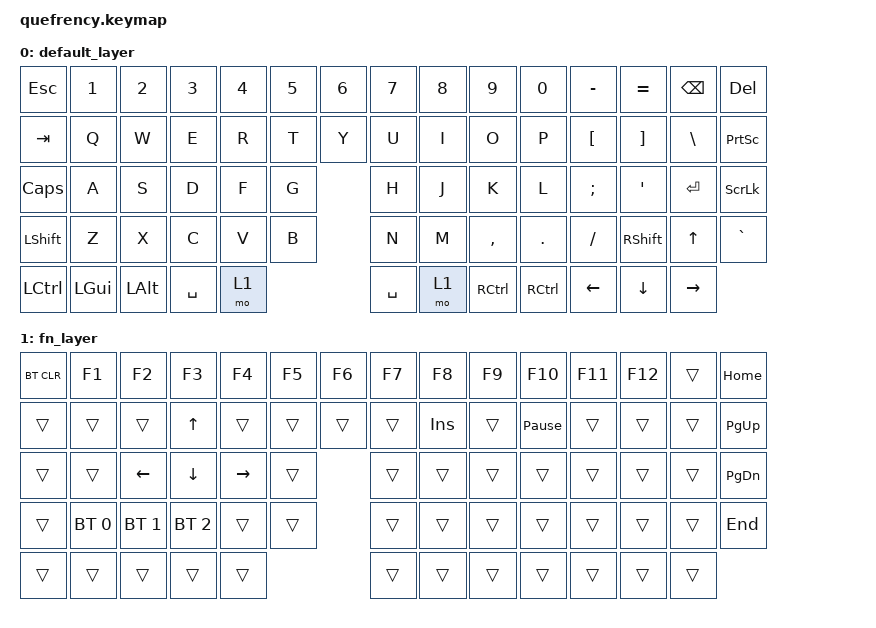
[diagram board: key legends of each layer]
/*
 * Copyright (c) 2020 The ZMK Contributors
 *
 * SPDX-License-Identifier: MIT
 */

#include <behaviors.dtsi>
#include <dt-bindings/zmk/bt.h>
#include <dt-bindings/zmk/keys.h>

/ {
    keymap {
        compatible = "zmk,keymap";

// ----------------------------------------------      -----------------------------------------------------
// | ESC  |  1   |  2  |  3   |  4  |  5  |  6  |      |  7  |  8  |  9  |  0  |  -  |  =  |  BKSPC | DEL  |
// | TAB   |  Q   |  W  |  E   |  R  |  T  |        |  Y  |  U  |  I  |  O  |  P  |  [  |  ]  |  \  | PRSC |
// | CAPS  |  A   |  S  |  D   |  F  |  G  |        |  H  |  J  |  K  |  L  |  ;  |  '  |   ENTER   | SLCK |
// | SHIFT   |  Z   |  X  |  C  |  V   |  B  |        |  N  |  M  |  ,  |  .  |  /  |  RSHFT  |  UP |  `   |
// | LCTRL   | LGUI | LALT |   SPACE   | FN  |        |   SPACE    | FN | RCTRL | RCTRL | LFT | DWN | RGHT |
// -------------------------------------------        ------------------------------------------------------

        default_layer {
            bindings = <
    &kp ESC   &kp N1    &kp N2    &kp N3    &kp N4    &kp N5 &kp N6       /**/ &kp N7    &kp N8    &kp N9    &kp N0    &kp MINUS &kp EQUAL  &kp BSPC  &kp DEL
    &kp TAB   &kp Q     &kp W     &kp E     &kp R     &kp T               /**/ &kp Y     &kp U     &kp I     &kp O     &kp P     &kp LBKT   &kp RBKT  &kp BSLH &kp PSCRN
    &kp CAPS  &kp A     &kp S     &kp D     &kp F     &kp G               /**/ &kp H     &kp J     &kp K     &kp L     &kp SCLN  &kp QUOT   &kp RET   &kp SLCK 
    &kp LSHFT &kp Z     &kp X     &kp C     &kp V     &kp B               /**/ &kp N     &kp M     &kp CMMA  &kp DOT   &kp FSLH  &kp RSHFT  &kp UP    &kp GRAVE 
    &kp LCTRL &kp LGUI  &kp LALT  &kp SPACE &mo 1                         /**/ &kp SPACE &mo 1     &kp RCTRL &kp RCTRL &kp LEFT  &kp DOWN   &kp RIGHT
            >;
        };

// ----------------------------------------------       -----------------------------------------------------
// |BT_CLR|  F1  |  F2 |  F3  |  F4 |  F5 |  F6 |       |  F7 |  F8 |  F9 | F10 | F11 | F12 |        | HOME | 
// |       |      |     |  UP  |     |     |         |     |     | INS |     |PAUSE|     |     |     | PGUP |
// |        |      |  LFT |  DWN | RGHT |     |       |     |     |     |     |     |     |          | PGDN |
// |         | BT-0 | BT-1 | BT-2 |      |     |       |     |     |     |     |     |         |     | END  |
// |         |      |      |           |     |         |             |      |    |       |     |     |      |
// -------------------------------------------         ------------------------------------------------------

        fn_layer {
            bindings = <
    &bt BT_CLR &kp F1       &kp F2       &kp F3       &kp F4    &kp F5 &kp F6 /**/ &kp F7 &kp F8 &kp F9  &kp F10 &kp F11          &kp F12 &trans &kp HOME
    &trans     &trans       &trans       &kp UP       &trans    &trans        /**/ &trans &trans &kp INS &trans  &kp PAUSE_BREAK  &trans  &trans &trans    &kp PG_UP
    &trans     &trans       &kp LEFT     &kp DOWN     &kp RIGHT &trans        /**/ &trans &trans &trans  &trans  &trans           &trans  &trans &kp PG_DN
    &trans     &bt BT_SEL 0 &bt BT_SEL 1 &bt BT_SEL 2 &trans    &trans        /**/ &trans &trans &trans  &trans  &trans           &trans  &trans &kp END
    &trans     &trans       &trans       &trans       &trans                  /**/ &trans &trans &trans  &trans  &trans           &trans  &trans       
            >;
        };
    };
};

&kscan0 { debounce-period = <30>; };
